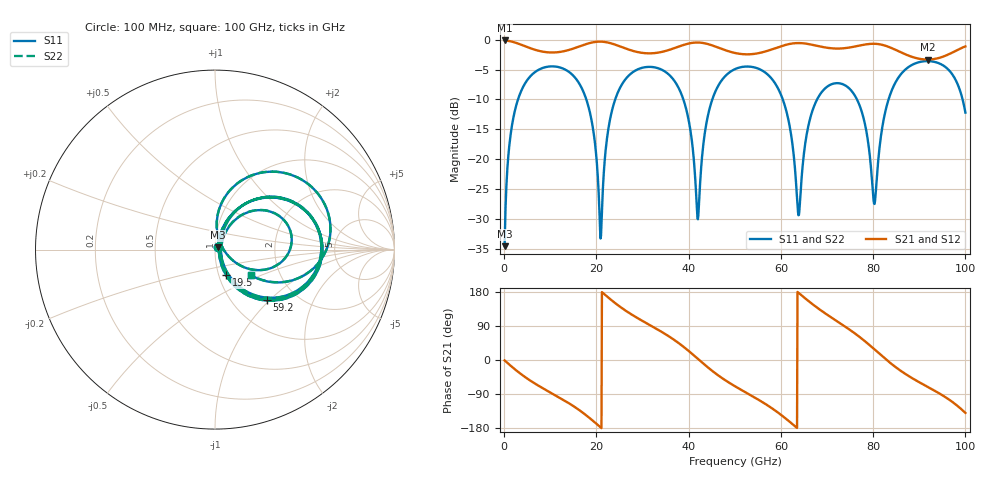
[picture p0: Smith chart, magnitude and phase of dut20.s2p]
! Touchstone file exported from HFSS 2026.1.0
!  File:  C:/ffzhzh/LocalFiles/Ansys_Project_Files/temp_train_TSV_RDL_20_1783438755_28540.aedt
!  Generated:  11:52:06 PM Jul  7, 2026
!  Design:  TSV_RDL
!  Project:  temp_train_TSV_RDL_20_1783438755_28540
! Variables:
!  h_bsmrdl = 2.57um
!  h_ox = 20um
!  h_rdl = 5um
!  h_sub = 81.33um
!  h_tmrdl = 4.13um
!  h_tsv = 81.33um
!  h_via = 3um
!  l_bsmrdl = 306.99um
!  l_sub = 2816.69um
!  l_tmrdl = 343.48um
!  m_sub = 200um
!  pitch = 58.6um
!  r_tsv = 7.21um
!  s_tmrdl = 10um
!  w_bsmrdl = 18.66um
!  w_sub = 500um
!  w_tmrdl = 21.94um
!  x_tsv_center1 = 354.45um
!  x_tsv_center2 = 680.1um
!  x_tsv_center3 = 1045.52um
!  x_tsv_center4 = 1371.17um
!  x_tsv_center5 = 1736.59um
!  x_tsv_center6 = 2062.24um
# GHz S MA R 50.000000
! Terminal data exported
! Port[1] = TM_RDL1_1_T1
! Port[2] = TM_RDL5_1_T1
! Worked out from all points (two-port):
!   1000 points, 100 MHz to 100 GHz, reference 50 ohm
!   highest |S21| = -0.12 dB at 100 MHz (marker M1); lowest = -3.3 dB at 91.8 GHz (marker M2)
!   |S21| within 3 dB of the highest: start of sweep to 89.6 GHz; 93.91 GHz to end of sweep
!   lowest |S11| = -34.5 dB at 100 MHz (marker M3), VSWR 1.04, Z = 51.4 + j1.24 ohm
!   |S11| at or under -10 dB: 38.86 GHz to 45.13 GHz (6.272 GHz wide, 14.9 % of centre); 60.41 GHz to 67.84 GHz (7.433 GHz wide, 11.6 % of centre); 76.49 GHz to 83.34 GHz (6.844 GHz wide, 8.56 % of centre) (the widest 3 of 6)
!   |S22| runs from -34.5 to -3.6 dB; largest |S21 - S12| = 9.5e-12
!   S11 on the Smith chart (normalised r, x): 100 MHz: 1.03, +0.02; 19.5 GHz: 1.08, -0.32; 59.2 GHz: 1.44, -0.96; 100 GHz: 1.42, -0.43
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0.1  0.01873 40.0  0.9858 -1.1  0.9858 -1.1  0.01873 40.0
! Gamma 0 0 0 0
! Port Impedance 50 0 50 0
1.5  0.1711 68.0  0.9676 -16.1  0.9676 -16.1  0.1711 68.0
4.4  0.4223 43.5  0.8862 -43.8  0.8862 -43.8  0.4223 43.5
10.6  0.5983 -0.9  0.7816 -89.7  0.7816 -89.7  0.5983 -0.9
16.8  0.3951 -45.7  0.8923 -136.8  0.8923 -136.8  0.3951 -45.7
19.5  0.1561 -66.5  0.9548 -163.0  0.9548 -163.0  0.156 -66.7
21  0.02294 20.5  0.9635 -178.7  0.9635 -178.7  0.02264 20.9
24.5  0.3504 52.3  0.8972 146.2  0.8972 146.2  0.3505 52.3
33.4  0.5769 -10.5  0.7799 79.6  0.7799 79.6  0.5769 -10.6
39.1  0.2954 -52.7  0.9092 32.9  0.9092 32.9  0.2953 -53.0
42  0.03147 4.8  0.9476 3.0  0.9476 3.0  0.0301 4.9
44.7  0.2795 58.8  0.9069 -24.7  0.9069 -24.7  0.2794 59.0
50.1  0.5686 18.7  0.7738 -69.7  0.7738 -69.7  0.5685 18.7
59.2  0.4032 -44.0  0.86 -137.2  0.86 -137.2  0.4031 -44.1
61.9  0.189 -63.4  0.9219 -163.0  0.9219 -163.0  0.1888 -63.8
63.8  0.03402 -9.9  0.9375 177.6  0.9375 177.6  0.03237 -10.3
66.7  0.2452 52.0  0.9084 148.7  0.9084 148.7  0.2449 52.4
75.4  0.3696 -11.8  0.8674 75.8  0.8674 75.8  0.3695 -11.7
80.3  0.04227 31.6  0.9247 28.0  0.9247 28.0  0.04198 31.9
83.4  0.3218 77.4  0.8702 -4.7  0.8702 -4.7  0.3219 77.5
91.8  0.6624 18.8  0.6824 -70.8  0.6824 -70.8  0.6623 18.9
100  0.2457 -35.6  0.8784 -139.6  0.8784 -139.6  0.2459 -35.2
